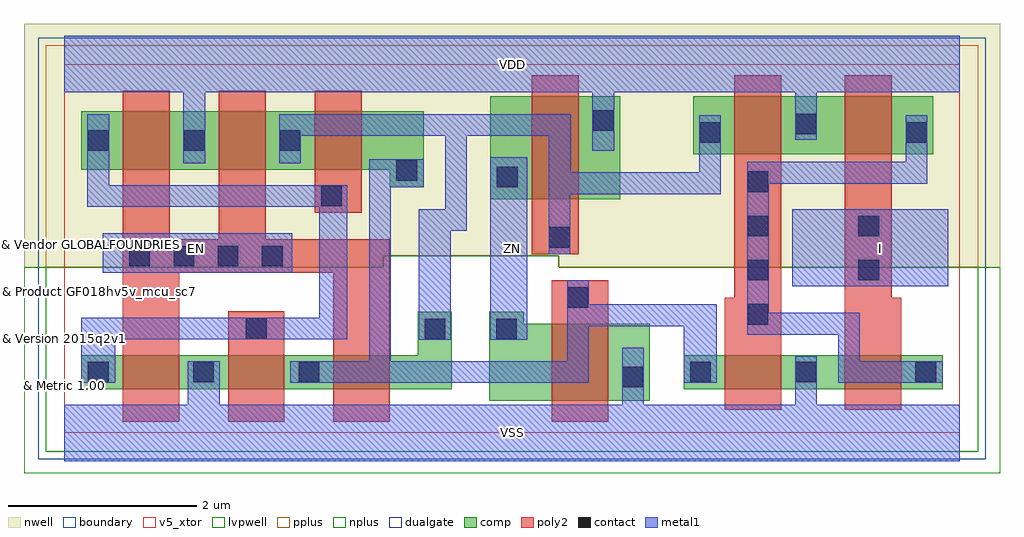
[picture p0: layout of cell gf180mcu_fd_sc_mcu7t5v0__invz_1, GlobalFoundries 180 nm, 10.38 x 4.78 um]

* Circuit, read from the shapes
.subckt gf180mcu_fd_sc_mcu7t5v0__invz_1 EN I VDD VSS ZN
XM1 VSS EN n1 VSUBS nfet_05v0 w=0.36u l=0.6u
XM2 n2 n1 VSS VSUBS nfet_05v0 w=0.36u l=0.6u
XM3 n3 EN n2 VSUBS nfet_05v0 w=0.36u l=0.6u
XM4 VSS n2 ZN VSUBS nfet_05v0 w=0.82u l=0.6u
XM5 VSS n4 n2 VSUBS nfet_05v0 w=0.36u l=0.6u
XM6 n4 I VSS VSUBS nfet_05v0 w=0.36u l=0.6u
XM7 VDD EN n1 n5 pfet_05v0 w=0.62u l=0.5u
XM8 n3 EN VDD n5 pfet_05v0 w=0.62u l=0.5u
XM9 n2 n1 n3 n5 pfet_05v0 w=0.62u l=0.5u
XM10 VDD n3 ZN n5 pfet_05v0 w=1.095u l=0.5u
XM11 VDD n4 n3 n5 pfet_05v0 w=0.62u l=0.5u
XM12 n4 I VDD n5 pfet_05v0 w=0.62u l=0.5u
.ends

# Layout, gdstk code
import gdstk
lib = gdstk.Library(unit=1e-6, precision=1e-09)
def R(c, l, rs):  # rectangles x0, y0, x1, y1
    for r in rs: c.add(gdstk.rectangle(r[:2], r[2:], *l))
def A(c, l, x, y, w, h, nx, ny, dx, dy):  # array of equal rectangles
    R(c, l, [(x+i*dx, y+j*dy, x+i*dx+w, y+j*dy+h) for i in range(nx) for j in range(ny)])
def P(c, l, *ps):  # polygons
    for p in ps: c.add(gdstk.Polygon(p, *l))
boundary = (0, 0)
nwell = (21, 0)
comp = (22, 0)
poly2 = (30, 0)
pplus = (31, 0)
nplus = (32, 0)
contact = (33, 0)
metal1 = (34, 0)
dualgate = (55, 0)
v5_xtor = (112, 1)
lvpwell = (204, 0)

gf180mcu_fd_sc_mcu7t5v0_ = lib.new_cell('gf180mcu_fd_sc_mcu7t5v0__invz_1')
R(gf180mcu_fd_sc_mcu7t5v0_, boundary, [(0,0,9.52,3.92)])
P(gf180mcu_fd_sc_mcu7t5v0_, nwell, [(-0.43,1.76),(-0.43,4.35),(9.95,4.35),(9.95,1.76),(5.255,1.76),(5.255,1.885),(3.39,1.885),(3.39,1.76)])
R(gf180mcu_fd_sc_mcu7t5v0_, comp, [(6.585,0.465,9.34,0.825), (4.53,2.485,5.91,3.58), (6.685,2.96,9.24,3.58)])
P(gf180mcu_fd_sc_mcu7t5v0_, comp, [(3.46,2.61),(3.46,2.8),(0.18,2.8),(0.18,3.42),(3.82,3.42),(3.82,2.61)],
  [(0.18,0.465),(0.18,0.825),(3.76,0.825),(3.76,1.285),(4.12,1.285),(4.12,0.465)],
  [(4.52,0.34),(4.52,1.285),(4.885,1.285),(4.885,1.16),(6.225,1.16),(6.225,0.34)])
R(gf180mcu_fd_sc_mcu7t5v0_, poly2, [(1.74,0.12,2.34,1.29), (5.185,0.12,5.785,1.62), (4.97,1.9,5.47,3.8), (2.66,2.34,3.16,3.64)])
P(gf180mcu_fd_sc_mcu7t5v0_, poly2, [(0.62,0.12),(0.62,3.64),(1.12,3.64),(1.12,2.06),(1.64,2.06),(1.64,3.64),(2.14,3.64),(2.14,2.06),(3.46,2.06),(3.46,0.12),(2.86,0.12),(2.86,1.7),(1.22,1.7),(1.22,0.12)],
  [(7.025,0.245),(7.025,1.435),(7.125,1.435),(7.125,3.8),(7.625,3.8),(7.625,0.245)],
  [(8.3,0.245),(8.3,3.8),(8.8,3.8),(8.8,1.435),(8.9,1.435),(8.9,0.245)])
P(gf180mcu_fd_sc_mcu7t5v0_, pplus, [(-0.2,1.76),(-0.2,4.12),(9.72,4.12),(9.72,1.76),(5.255,1.76),(5.255,1.885),(3.39,1.885),(3.39,1.76)])
P(gf180mcu_fd_sc_mcu7t5v0_, nplus, [(-0.2,-0.2),(-0.2,1.76),(3.39,1.76),(3.39,1.885),(5.255,1.885),(5.255,1.76),(9.72,1.76),(9.72,-0.2)])
A(gf180mcu_fd_sc_mcu7t5v0_, contact, 0.25, 0.535, 0.22, 0.22, 3, 1, 1.12, 0)
A(gf180mcu_fd_sc_mcu7t5v0_, contact, 7.265, 1.15, 0.22, 0.22, 1, 4, 0, 0.47)
A(gf180mcu_fd_sc_mcu7t5v0_, contact, 0.69, 1.77, 0.22, 0.22, 4, 1, 0.47, 0)
A(gf180mcu_fd_sc_mcu7t5v0_, contact, 0.25, 3, 0.22, 0.22, 3, 1, 1.02, 0)
R(gf180mcu_fd_sc_mcu7t5v0_, contact, [(5.935,0.485,6.155,0.705), (6.655,0.535,6.875,0.755), (7.775,0.535,7.995,0.755), (9.05,0.535,9.27,0.755), (3.83,0.995,4.05,1.215), (4.59,0.995,4.81,1.215), (1.93,1,2.15,1.22), (5.35,1.33,5.57,1.55), (8.445,1.62,8.665,1.84), (5.155,1.97,5.375,2.19), (8.445,2.09,8.665,2.31), (2.73,2.41,2.95,2.63), (4.6,2.61,4.82,2.83), (3.53,2.68,3.75,2.9), (6.755,3.085,6.975,3.305), (8.95,3.085,9.17,3.305), (7.775,3.175,7.995,3.395), (5.62,3.21,5.84,3.43)])
R(gf180mcu_fd_sc_mcu7t5v0_, metal1, [(4.53,0.99,4.92,2.93), (7.74,1.56,9.4,2.375), (0.41,1.7,2.425,2.12)])
P(gf180mcu_fd_sc_mcu7t5v0_, metal1, [(0.18,0.53),(0.18,1.225),(2.71,1.225),(2.71,2.405),(0.245,2.405),(0.245,3.39),(0.475,3.39),(0.475,2.635),(3.01,2.635),(3.01,0.995),(0.54,0.995),(0.54,0.53)],
  [(2.4,0.53),(2.4,0.76),(3.24,0.76),(3.24,2.91),(3.82,2.91),(3.82,2.61),(3.47,2.61),(3.47,0.76),(5.345,0.76),(5.345,1.62),(5.575,1.62),(5.575,1.365),(6.935,1.365),(6.935,0.53),(6.585,0.53),(6.585,1.135),(5.575,1.135),(5.575,0.53)],
  [(3.77,0.99),(3.77,2.38),(4.05,2.38),(4.05,3.16),(2.515,3.16),(2.515,2.865),(2.285,2.865),(2.285,3.39),(5.385,3.39),(5.385,2.77),(6.75,2.77),(6.75,3.375),(6.98,3.375),(6.98,2.535),(5.38,2.535),(5.38,1.9),(5.15,1.9),(5.15,3.16),(4.28,3.16),(4.28,2.15),(4.11,2.15),(4.11,0.99)],
  [(8.23,0.53),(8.23,1.045),(7.26,1.045),(7.26,2.885),(8.945,2.885),(8.945,3.375),(9.175,3.375),(9.175,2.65),(7.49,2.65),(7.49,1.275),(8.46,1.275),(8.46,0.76),(9.34,0.76),(9.34,0.53)],
  [(0,-0.3),(0,0.3),(1.31,0.3),(1.31,0.76),(1.65,0.76),(1.65,0.3),(5.93,0.3),(5.93,0.905),(6.16,0.905),(6.16,0.3),(7.77,0.3),(7.77,0.815),(8,0.815),(8,0.3),(9.52,0.3),(9.52,-0.3)],
  [(1.265,2.865),(1.265,3.62),(0,3.62),(0,4.22),(9.52,4.22),(9.52,3.62),(8,3.62),(8,3.115),(7.77,3.115),(7.77,3.62),(5.845,3.62),(5.845,3),(5.615,3),(5.615,3.62),(1.495,3.62),(1.495,2.865)])
R(gf180mcu_fd_sc_mcu7t5v0_, dualgate, [(-0.28,-0.28,9.8,4.2)])
R(gf180mcu_fd_sc_mcu7t5v0_, v5_xtor, [(0,0,9.52,3.92)])
P(gf180mcu_fd_sc_mcu7t5v0_, lvpwell, [(-0.43,-0.43),(-0.43,1.76),(3.39,1.76),(3.39,1.885),(5.255,1.885),(5.255,1.76),(9.95,1.76),(9.95,-0.43)])
gf180mcu_fd_sc_mcu7t5v0_.add(gdstk.Label('VDD', (4.76,3.92), layer=34, texttype=10))
gf180mcu_fd_sc_mcu7t5v0_.add(gdstk.Label('VSS', (4.76,0), layer=34, texttype=10))
gf180mcu_fd_sc_mcu7t5v0_.add(gdstk.Label('ZN', (4.76,1.96), layer=34, texttype=10))
gf180mcu_fd_sc_mcu7t5v0_.add(gdstk.Label('EN', (1.4,1.96), layer=34, texttype=10))
gf180mcu_fd_sc_mcu7t5v0_.add(gdstk.Label('I', (8.68,1.96), layer=34, texttype=10))
gf180mcu_fd_sc_mcu7t5v0_.add(gdstk.Label('& Vendor GLOBALFOUNDRIES', (0,2), layer=63, texttype=63))
gf180mcu_fd_sc_mcu7t5v0_.add(gdstk.Label('& Product GF018hv5v_mcu_sc7', (0,1.5), layer=63, texttype=63))
gf180mcu_fd_sc_mcu7t5v0_.add(gdstk.Label('& Version 2015q2v1', (0,1), layer=63, texttype=63))
gf180mcu_fd_sc_mcu7t5v0_.add(gdstk.Label('& Metric 1.00', (0,0.5), layer=63, texttype=63))

lib.write_gds('gf180mcu_fd_sc_mcu7t5v0__invz_1.gds')
